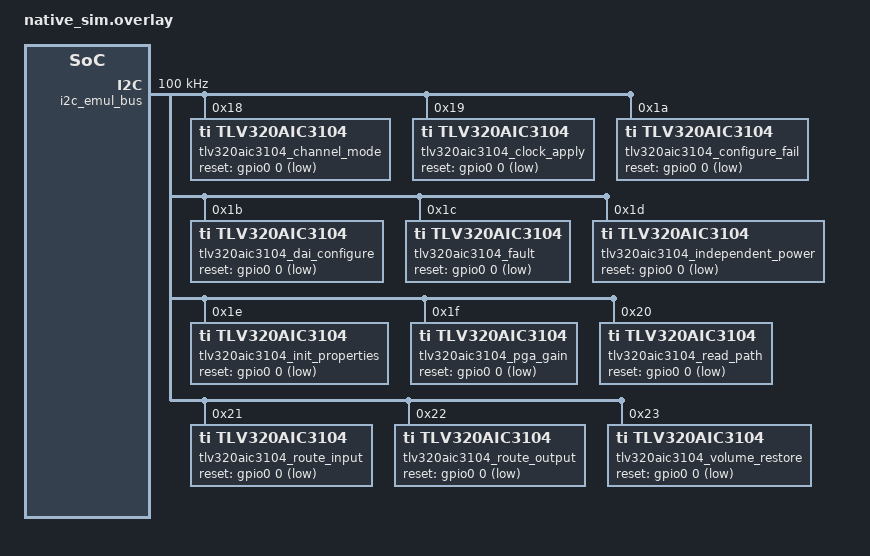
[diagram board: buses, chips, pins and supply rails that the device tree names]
/*
 * SPDX-FileCopyrightText: Copyright (c) 2026 DevItWise
 * SPDX-FileCopyrightText: Copyright The Zephyr Project Contributors
 * SPDX-License-Identifier: Apache-2.0
 */

/ {
	i2c_emul_bus: i2c_emul@60000000 {
		compatible = "zephyr,i2c-emul-controller";
		reg = <0x60000000 0x1>;
		clock-frequency = <I2C_BITRATE_STANDARD>;
		status = "okay";
		#address-cells = <1>;
		#size-cells = <0>;

		tlv320aic3104_channel_mode: tlv320aic3104@18 {
			compatible = "ti,tlv320aic3104";
			reg = <0x18>;
			reset-gpios = <&gpio0 0 GPIO_ACTIVE_LOW>;
			status = "okay";
		};

		tlv320aic3104_clock_apply: tlv320aic3104@19 {
			compatible = "ti,tlv320aic3104";
			reg = <0x19>;
			reset-gpios = <&gpio0 0 GPIO_ACTIVE_LOW>;
			status = "okay";
		};

		tlv320aic3104_configure_fail: tlv320aic3104@1a {
			compatible = "ti,tlv320aic3104";
			reg = <0x1a>;
			reset-gpios = <&gpio0 0 GPIO_ACTIVE_LOW>;
			status = "okay";
		};

		tlv320aic3104_dai_configure: tlv320aic3104@1b {
			compatible = "ti,tlv320aic3104";
			reg = <0x1b>;
			reset-gpios = <&gpio0 0 GPIO_ACTIVE_LOW>;
			status = "okay";
		};

		tlv320aic3104_fault: tlv320aic3104@1c {
			compatible = "ti,tlv320aic3104";
			reg = <0x1c>;
			reset-gpios = <&gpio0 0 GPIO_ACTIVE_LOW>;
			status = "okay";
		};

		tlv320aic3104_independent_power: tlv320aic3104@1d {
			compatible = "ti,tlv320aic3104";
			reg = <0x1d>;
			reset-gpios = <&gpio0 0 GPIO_ACTIVE_LOW>;
			status = "okay";
		};

		tlv320aic3104_init_properties: tlv320aic3104@1e {
			compatible = "ti,tlv320aic3104";
			reg = <0x1e>;
			reset-gpios = <&gpio0 0 GPIO_ACTIVE_LOW>;

			mic-bias-level = <2>;
			adc-high-pass-filter = <3>;
			status = "okay";
		};

		tlv320aic3104_pga_gain: tlv320aic3104@1f {
			compatible = "ti,tlv320aic3104";
			reg = <0x1f>;
			reset-gpios = <&gpio0 0 GPIO_ACTIVE_LOW>;
			status = "okay";
		};

		tlv320aic3104_read_path: tlv320aic3104@20 {
			compatible = "ti,tlv320aic3104";
			reg = <0x20>;
			reset-gpios = <&gpio0 0 GPIO_ACTIVE_LOW>;
			status = "okay";
		};

		tlv320aic3104_route_input: tlv320aic3104@21 {
			compatible = "ti,tlv320aic3104";
			reg = <0x21>;
			reset-gpios = <&gpio0 0 GPIO_ACTIVE_LOW>;
			status = "okay";
		};

		tlv320aic3104_route_output: tlv320aic3104@22 {
			compatible = "ti,tlv320aic3104";
			reg = <0x22>;
			reset-gpios = <&gpio0 0 GPIO_ACTIVE_LOW>;
			status = "okay";
		};

		tlv320aic3104_volume_restore: tlv320aic3104@23 {
			compatible = "ti,tlv320aic3104";
			reg = <0x23>;
			reset-gpios = <&gpio0 0 GPIO_ACTIVE_LOW>;
			status = "okay";
		};
	};
};
